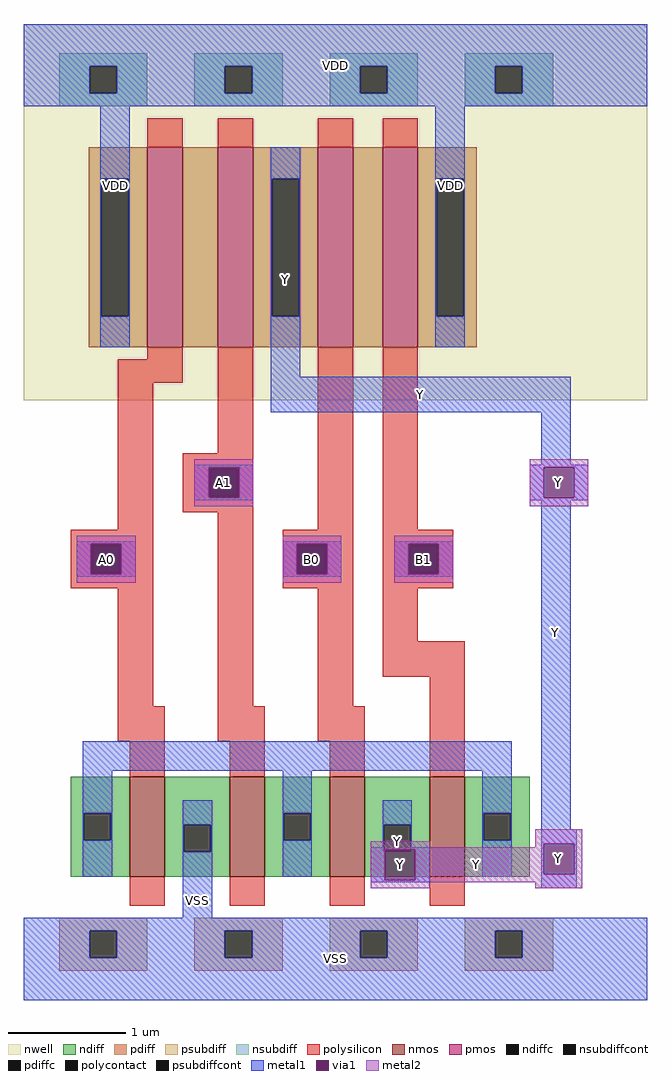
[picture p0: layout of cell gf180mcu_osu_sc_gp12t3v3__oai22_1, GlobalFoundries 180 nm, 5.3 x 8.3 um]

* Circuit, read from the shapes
.subckt gf180mcu_osu_sc_gp12t3v3__oai22_1 A0 A1 B0 B1 Y VDD VSS
XM1 VSS A0 n1 VSS nfet_03v3 w=0.85u l=0.3u
XM2 n1 A1 VSS VSS nfet_03v3 w=0.85u l=0.3u
XM3 Y B0 n1 VSS nfet_03v3 w=0.85u l=0.3u
XM4 n1 B1 Y VSS nfet_03v3 w=0.85u l=0.3u
XM5 n2 A0 VDD VDD pfet_03v3 w=1.7u l=0.3u
XM6 Y A1 n2 VDD pfet_03v3 w=1.7u l=0.3u
XM7 n3 B0 Y VDD pfet_03v3 w=1.7u l=0.3u
XM8 VDD B1 n3 VDD pfet_03v3 w=1.7u l=0.3u
.ends

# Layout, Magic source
magic
tech gf180mcuA
magscale 1 10
<< nwell >>
rect 0 1020 1060 1660
<< nmos >>
rect 180 210 240 380
rect 350 210 410 380
rect 520 210 580 380
rect 690 210 750 380
<< pmos >>
rect 210 1110 270 1450
rect 330 1110 390 1450
rect 500 1110 560 1450
rect 610 1110 670 1450
<< ndiff >>
rect 80 318 180 380
rect 80 272 102 318
rect 148 272 180 318
rect 80 210 180 272
rect 240 298 350 380
rect 240 252 272 298
rect 318 252 350 298
rect 240 210 350 252
rect 410 318 520 380
rect 410 272 442 318
rect 488 272 520 318
rect 410 210 520 272
rect 580 298 690 380
rect 580 252 612 298
rect 658 252 690 298
rect 580 210 690 252
rect 750 318 860 380
rect 750 272 782 318
rect 828 272 860 318
rect 750 210 860 272
<< pdiff >>
rect 110 1397 210 1450
rect 110 1163 132 1397
rect 178 1163 210 1397
rect 110 1110 210 1163
rect 270 1110 330 1450
rect 390 1397 500 1450
rect 390 1163 422 1397
rect 468 1163 500 1397
rect 390 1110 500 1163
rect 560 1110 610 1450
rect 670 1397 770 1450
rect 670 1163 702 1397
rect 748 1163 770 1397
rect 670 1110 770 1163
<< ndiffc >>
rect 102 272 148 318
rect 272 252 318 298
rect 442 272 488 318
rect 612 252 658 298
rect 782 272 828 318
<< pdiffc >>
rect 132 1163 178 1397
rect 422 1163 468 1397
rect 702 1163 748 1397
<< psubdiff >>
rect 60 118 210 140
rect 60 72 112 118
rect 158 72 210 118
rect 60 50 210 72
rect 290 118 440 140
rect 290 72 342 118
rect 388 72 440 118
rect 290 50 440 72
rect 520 118 670 140
rect 520 72 572 118
rect 618 72 670 118
rect 520 50 670 72
rect 750 118 900 140
rect 750 72 802 118
rect 848 72 900 118
rect 750 50 900 72
<< nsubdiff >>
rect 60 1588 210 1610
rect 60 1542 112 1588
rect 158 1542 210 1588
rect 60 1520 210 1542
rect 290 1588 440 1610
rect 290 1542 342 1588
rect 388 1542 440 1588
rect 290 1520 440 1542
rect 520 1588 670 1610
rect 520 1542 572 1588
rect 618 1542 670 1588
rect 520 1520 670 1542
rect 750 1588 900 1610
rect 750 1542 802 1588
rect 848 1542 900 1588
rect 750 1520 900 1542
<< psubdiffcont >>
rect 112 72 158 118
rect 342 72 388 118
rect 572 72 618 118
rect 802 72 848 118
<< nsubdiffcont >>
rect 112 1542 158 1588
rect 342 1542 388 1588
rect 572 1542 618 1588
rect 802 1542 848 1588
<< polysilicon >>
rect 210 1450 270 1500
rect 330 1450 390 1500
rect 500 1450 560 1500
rect 610 1450 670 1500
rect 210 1090 270 1110
rect 160 1050 270 1090
rect 160 800 220 1050
rect 330 930 390 1110
rect 270 903 390 930
rect 270 857 317 903
rect 363 857 390 903
rect 270 830 390 857
rect 80 773 220 800
rect 80 727 117 773
rect 163 727 220 773
rect 80 700 220 727
rect 160 500 220 700
rect 330 500 390 830
rect 500 800 560 1110
rect 440 773 560 800
rect 440 727 467 773
rect 513 727 560 773
rect 440 700 560 727
rect 500 500 560 700
rect 610 800 670 1110
rect 610 773 730 800
rect 610 727 657 773
rect 703 727 730 773
rect 610 700 730 727
rect 610 610 670 700
rect 610 550 750 610
rect 160 440 240 500
rect 330 440 410 500
rect 500 440 580 500
rect 180 380 240 440
rect 350 380 410 440
rect 520 380 580 440
rect 690 380 750 550
rect 180 160 240 210
rect 350 160 410 210
rect 520 160 580 210
rect 690 160 750 210
<< polycontact >>
rect 317 857 363 903
rect 117 727 163 773
rect 467 727 513 773
rect 657 727 703 773
<< metal1 >>
rect 0 1588 1060 1660
rect 0 1542 112 1588
rect 158 1542 342 1588
rect 388 1542 572 1588
rect 618 1542 802 1588
rect 848 1542 1060 1588
rect 0 1520 1060 1542
rect 130 1397 180 1520
rect 130 1163 132 1397
rect 178 1163 180 1397
rect 130 1110 180 1163
rect 420 1397 470 1450
rect 420 1163 422 1397
rect 468 1163 470 1397
rect 420 1060 470 1163
rect 700 1397 750 1520
rect 700 1163 702 1397
rect 748 1163 750 1397
rect 700 1110 750 1163
rect 420 1000 930 1060
rect 880 910 930 1000
rect 290 906 390 910
rect 290 854 314 906
rect 366 854 390 906
rect 290 850 390 854
rect 860 906 960 910
rect 860 854 884 906
rect 936 854 960 906
rect 860 850 960 854
rect 90 776 190 780
rect 90 724 114 776
rect 166 724 190 776
rect 90 720 190 724
rect 440 776 540 780
rect 440 724 464 776
rect 516 724 540 776
rect 440 720 540 724
rect 630 776 730 780
rect 630 724 654 776
rect 706 724 730 776
rect 630 720 730 724
rect 100 390 830 440
rect 100 318 150 390
rect 100 272 102 318
rect 148 272 150 318
rect 100 210 150 272
rect 270 298 320 340
rect 270 252 272 298
rect 318 252 320 298
rect 270 140 320 252
rect 440 318 490 390
rect 440 272 442 318
rect 488 272 490 318
rect 440 210 490 272
rect 610 298 660 340
rect 610 260 612 298
rect 590 252 612 260
rect 658 260 660 298
rect 780 318 830 390
rect 780 272 782 318
rect 828 272 830 318
rect 658 256 690 260
rect 590 204 614 252
rect 666 204 690 256
rect 780 210 830 272
rect 880 290 930 850
rect 880 266 940 290
rect 880 214 884 266
rect 936 214 940 266
rect 590 200 690 204
rect 880 190 940 214
rect 0 118 1060 140
rect 0 72 112 118
rect 158 72 342 118
rect 388 72 572 118
rect 618 72 802 118
rect 848 72 1060 118
rect 0 0 1060 72
<< via1 >>
rect 314 903 366 906
rect 314 857 317 903
rect 317 857 363 903
rect 363 857 366 903
rect 314 854 366 857
rect 884 854 936 906
rect 114 773 166 776
rect 114 727 117 773
rect 117 727 163 773
rect 163 727 166 773
rect 114 724 166 727
rect 464 773 516 776
rect 464 727 467 773
rect 467 727 513 773
rect 513 727 516 773
rect 464 724 516 727
rect 654 773 706 776
rect 654 727 657 773
rect 657 727 703 773
rect 703 727 706 773
rect 654 724 706 727
rect 614 252 658 256
rect 658 252 666 256
rect 614 204 666 252
rect 884 214 936 266
<< metal2 >>
rect 290 906 390 920
rect 290 854 314 906
rect 366 854 390 906
rect 290 840 390 854
rect 860 906 960 920
rect 860 854 884 906
rect 936 854 960 906
rect 860 840 960 854
rect 90 776 190 790
rect 90 724 114 776
rect 166 724 190 776
rect 90 710 190 724
rect 440 776 540 790
rect 440 724 464 776
rect 516 724 540 776
rect 440 710 540 724
rect 630 776 730 790
rect 630 724 654 776
rect 706 724 730 776
rect 630 710 730 724
rect 590 260 690 270
rect 870 266 950 290
rect 870 260 884 266
rect 590 256 884 260
rect 590 204 614 256
rect 666 214 884 256
rect 936 214 950 266
rect 666 204 950 214
rect 590 200 950 204
rect 590 190 690 200
rect 870 190 950 200
<< labels >>
rlabel via1 s 114 724 166 776 4 A0
port 1 nsew signal input
rlabel via1 s 314 854 366 906 4 A1
port 2 nsew signal input
rlabel via1 s 464 724 516 776 4 B0
port 3 nsew signal input
rlabel via1 s 654 724 706 776 4 B1
port 4 nsew signal input
rlabel via1 s 884 214 936 266 4 Y
port 5 nsew signal output
rlabel metal1 s 130 1110 180 1660 4 VDD
port 6 nsew power bidirectional abutment
rlabel metal1 s 270 0 320 340 4 VSS
port 7 nsew ground bidirectional abutment
rlabel metal1 s 700 1110 750 1660 1 VDD
port 6 nsew power bidirectional abutment
rlabel metal1 s 0 1520 1060 1660 1 VDD
port 6 nsew power bidirectional abutment
rlabel metal1 s 0 0 1060 140 1 VSS
port 7 nsew ground bidirectional abutment
rlabel metal2 s 90 710 190 790 1 A0
port 1 nsew signal input
rlabel metal1 s 90 720 190 780 1 A0
port 1 nsew signal input
rlabel metal2 s 290 840 390 920 1 A1
port 2 nsew signal input
rlabel metal1 s 290 850 390 910 1 A1
port 2 nsew signal input
rlabel metal2 s 440 710 540 790 1 B0
port 3 nsew signal input
rlabel metal1 s 440 720 540 780 1 B0
port 3 nsew signal input
rlabel metal2 s 630 710 730 790 1 B1
port 4 nsew signal input
rlabel metal1 s 630 720 730 780 1 B1
port 4 nsew signal input
rlabel via1 s 884 854 936 906 1 Y
port 5 nsew signal output
rlabel via1 s 614 204 666 256 1 Y
port 5 nsew signal output
rlabel metal2 s 590 190 690 270 1 Y
port 5 nsew signal output
rlabel metal2 s 590 200 950 260 1 Y
port 5 nsew signal output
rlabel metal2 s 870 190 950 290 1 Y
port 5 nsew signal output
rlabel metal2 s 860 840 960 920 1 Y
port 5 nsew signal output
rlabel metal1 s 610 200 660 340 1 Y
port 5 nsew signal output
rlabel metal1 s 590 200 690 260 1 Y
port 5 nsew signal output
rlabel metal1 s 420 1000 470 1450 1 Y
port 5 nsew signal output
rlabel metal1 s 880 190 930 1060 1 Y
port 5 nsew signal output
rlabel metal1 s 420 1000 930 1060 1 Y
port 5 nsew signal output
rlabel metal1 s 880 190 940 290 1 Y
port 5 nsew signal output
rlabel metal1 s 860 850 960 910 1 Y
port 5 nsew signal output
<< properties >>
string FIXED_BBOX 0 0 1060 1660
string GDS_END 485412
string GDS_FILE $PDKPATH/libs.ref/gf180mcu_osu_sc_gp12t3v3/gds/gf180mcu_osu_sc_gp12t3v3.gds
string GDS_START 478418
string LEFclass CORE
string LEFsite gf180mcu_osu_sc_gp12t3v3
string LEFsymmetry X Y
<< end >>
